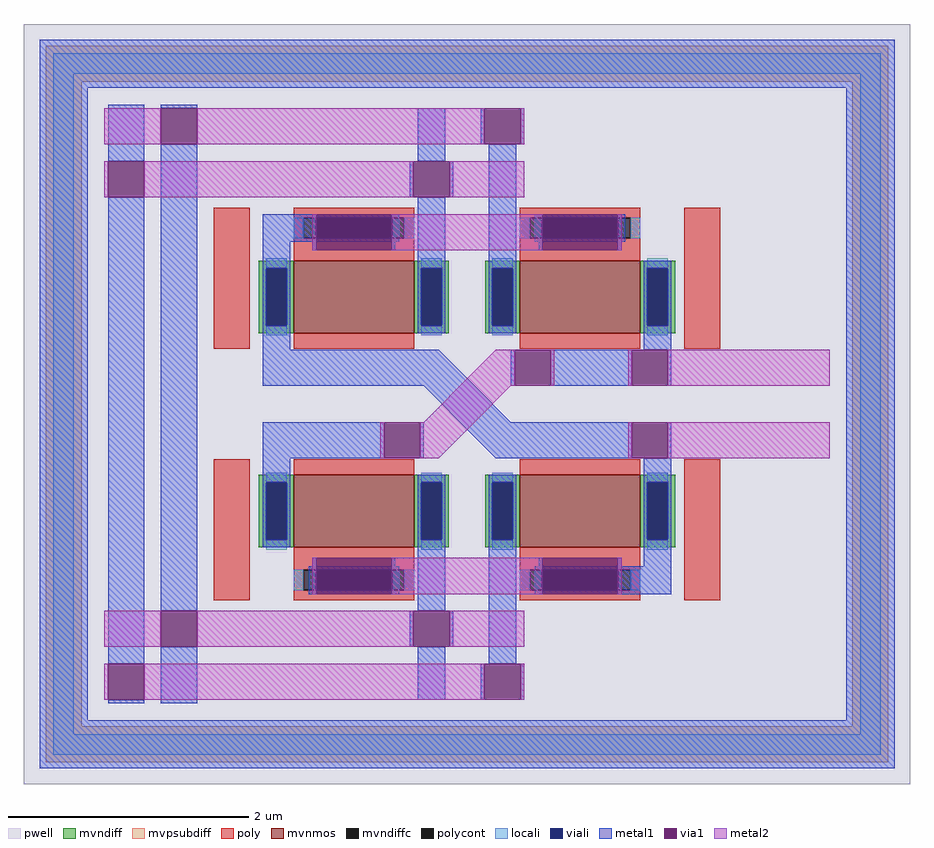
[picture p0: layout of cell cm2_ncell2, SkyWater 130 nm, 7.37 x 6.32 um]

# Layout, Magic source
magic
tech sky130A
magscale 1 2
<< pwell >>
rect -56 -638 1418 626
<< metal1 >>
rect 84 398 144 492
rect 84 -438 144 338
rect 84 -504 144 -498
rect 172 486 232 492
rect 172 -350 232 426
rect 599 398 645 486
rect 704 426 710 486
rect 770 426 776 486
rect 586 338 592 398
rect 652 338 658 398
rect 599 232 645 338
rect 717 232 763 426
rect 341 84 387 112
rect 975 84 1021 112
rect 341 24 537 84
rect 826 24 955 84
rect 1015 24 1021 84
rect 341 -96 537 -36
rect 826 -96 955 -36
rect 1015 -96 1021 -36
rect 341 -124 387 -96
rect 975 -124 1021 -96
rect 599 -350 645 -244
rect 586 -410 592 -350
rect 652 -410 658 -350
rect 172 -504 232 -410
rect 599 -498 645 -410
rect 717 -438 763 -239
rect 704 -498 710 -438
rect 770 -498 776 -438
<< via1 >>
rect 84 338 144 398
rect 84 -498 144 -438
rect 172 426 232 486
rect 710 426 770 486
rect 592 338 652 398
rect 955 24 1015 84
rect 955 -96 1015 -36
rect 172 -410 232 -350
rect 592 -410 652 -350
rect 710 -498 770 -438
<< metal2 >>
rect 78 426 172 486
rect 232 426 710 486
rect 770 426 776 486
rect 78 338 84 398
rect 144 338 592 398
rect 652 338 776 398
rect 949 24 955 84
rect 1015 24 1284 84
rect 949 -96 955 -36
rect 1015 -96 1284 -36
rect 78 -410 172 -350
rect 232 -410 592 -350
rect 652 -410 776 -350
rect 78 -498 84 -438
rect 144 -498 710 -438
rect 770 -498 776 -438
use cm2_ncell2_ncell  cm2_ncell2_ncell_0
transform 1 0 -1062 0 1 -181
box 1032 175 2454 781
use cm2_ncell2_ncell  cm2_ncell2_ncell_1
transform -1 0 2424 0 -1 169
box 1032 175 2454 781
use cross_pair  cross_pair_0
transform 1 0 -35577 0 1 -1951
box 36114 1855 36403 2035
<< end >>

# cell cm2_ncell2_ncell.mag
magic
tech sky130A
magscale 1 2
<< mvpsubdiff >>
rect 1042 711 2444 771
rect 1042 175 1102 711
rect 2384 175 2444 711
<< poly >>
rect 1322 267 1382 501
rect 2104 267 2164 501
<< locali >>
rect 1055 724 2431 758
rect 1055 175 1089 724
rect 2397 175 2431 724
<< metal1 >>
rect 1032 701 2454 781
rect 1032 175 1112 701
rect 1403 445 1480 491
rect 1403 413 1449 445
rect 1486 431 1492 491
rect 1618 431 1624 491
rect 1862 431 1868 491
rect 1994 431 2000 491
rect 2374 175 2454 701
<< via1 >>
rect 1492 431 1618 491
rect 1868 431 1994 491
<< metal2 >>
rect 1486 431 1492 491
rect 1618 431 1868 491
rect 1994 431 2000 491
use sky130_fd_pr__nfet_g5v0d10v5_QKV39N  sky130_fd_pr__nfet_g5v0d10v5_QKV39N_0
transform 1 0 1555 0 1 384
box -158 -117 158 117
use sky130_fd_pr__nfet_g5v0d10v5_QKV39N  sky130_fd_pr__nfet_g5v0d10v5_QKV39N_1
transform 1 0 1931 0 1 384
box -158 -117 158 117
<< end >>

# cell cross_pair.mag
magic
tech sky130A
magscale 1 2
<< metal1 >>
rect 36114 1975 36211 2035
tri 36211 1975 36271 2035 sw
rect 36331 1975 36337 2035
rect 36397 1975 36403 2035
rect 36114 1855 36120 1915
rect 36180 1855 36186 1915
tri 36186 1890 36271 1975 ne
tri 36271 1915 36331 1975 sw
rect 36271 1890 36403 1915
tri 36271 1855 36306 1890 ne
rect 36306 1855 36403 1890
<< via1 >>
rect 36337 1975 36397 2035
rect 36120 1855 36180 1915
<< metal2 >>
tri 36271 2000 36306 2035 se
rect 36306 2000 36337 2035
tri 36186 1915 36271 2000 se
rect 36271 1975 36337 2000
rect 36397 1975 36403 2035
tri 36271 1915 36331 1975 nw
rect 36114 1855 36120 1915
rect 36180 1855 36211 1915
tri 36211 1855 36271 1915 nw
<< end >>

# cell sky130_fd_pr__nfet_g5v0d10v5_QKV39N: kit device sky130_fd_pr__nfet_g5v0d10v5, w 0.6 l 1 m 1 nf 1 diffcov 100 polycov 100 guard 0 glc 1 grc 1 gtc 1 gbc 1 tbcov 100 rlcov 100 topc 1 botc 0 poverlap 0 doverlap 1 lmin 0.50 wmin 0.42 compatible {sky130_fd_pr__nfet_01v8 sky130_fd_pr__nfet_01v8_lvt sky130_fd_bs_flash__special_sonosfet_star sky130_fd_pr__nfet_g5v0d10v5 sky130_fd_pr__nfet_05v0_nvt sky130_fd_pr__nfet_03v3_nvt} full_metal 1 viasrc 100 viadrn 100 viagate 75 viagb 0 viagr 0 viagl 0 viagt 0
